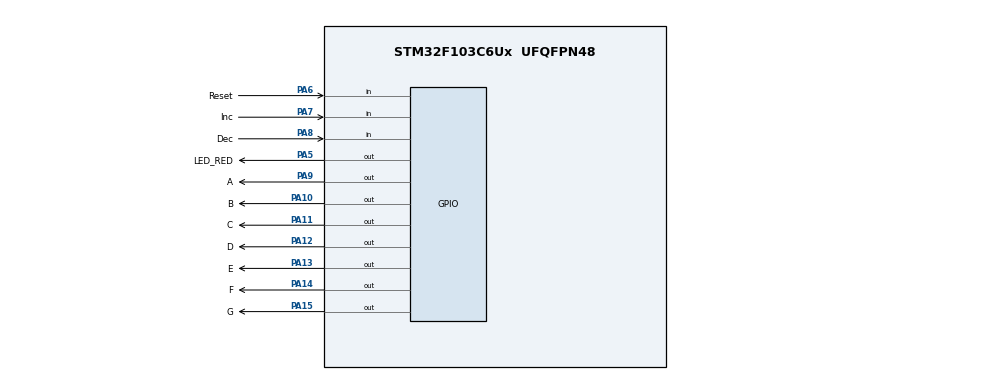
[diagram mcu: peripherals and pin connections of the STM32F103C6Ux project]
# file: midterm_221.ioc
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Mcu.Family=STM32F1
Mcu.Name=STM32F103C6Ux
Mcu.Package=UFQFPN48
NVIC.PriorityGroup=NVIC_PRIORITYGROUP_4
NVIC.TIM2_IRQn=true\:0\:0\:false\:false\:true\:true\:true
PA10.GPIO_Label=B
PA10.Signal=GPIO_Output
PA11.GPIO_Label=C
PA11.Signal=GPIO_Output
PA12.GPIO_Label=D
PA12.Signal=GPIO_Output
PA13.GPIO_Label=E
PA13.Signal=GPIO_Output
PA14.GPIO_Label=F
PA14.Signal=GPIO_Output
PA15.GPIO_Label=G
PA15.Signal=GPIO_Output
PA5.GPIO_Label=LED_RED
PA5.Signal=GPIO_Output
PA6.GPIO_Label=Reset
PA6.GPIO_PuPd=GPIO_PULLUP
PA6.Signal=GPIO_Input
PA7.GPIO_Label=Inc
PA7.GPIO_PuPd=GPIO_PULLUP
PA7.Signal=GPIO_Input
PA8.GPIO_Label=Dec
PA8.GPIO_PuPd=GPIO_PULLUP
PA8.Signal=GPIO_Input
PA9.GPIO_Label=A
PA9.Signal=GPIO_Output
ProjectManager.HeapSize=0x200
ProjectManager.StackSize=0x400
ProjectManager.TargetToolchain=STM32CubeIDE
RCC.APB1Freq_Value=8000000
RCC.APB2Freq_Value=8000000
TIM2.Period=9
TIM2.Prescaler=7999
VP_SYS_VS_ND.Mode=No_Debug
VP_TIM2_VS_ClockSourceINT.Mode=Internal
board=custom

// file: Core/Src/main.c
/* USER CODE BEGIN Header */
/**
  ******************************************************************************
  * @file           : main.c
  * @brief          : Main program body
  ******************************************************************************
  * @attention
  *
  * <h2><center>&copy; Copyright (c) 2022 STMicroelectronics.
  * All rights reserved.</center></h2>
  *
  * This software component is licensed by ST under BSD 3-Clause license,
  * the "License"; You may not use this file except in compliance with the
  * License. You may obtain a copy of the License at:
  *                        opensource.org/licenses/BSD-3-Clause
  *
  ******************************************************************************
  */
/* USER CODE END Header */
#include "main.h"
#include "software_timer.h"
#include "button.h"
#include "fsm_buttons_run.h"

TIM_HandleTypeDef htim2;

void SystemClock_Config(void);
static void MX_GPIO_Init(void);
static void MX_TIM2_Init(void);

int main(void)
{

  /* MCU Configuration--------------------------------------------------------*/

  /* Reset of all peripherals, Initializes the Flash interface and the Systick. */
  HAL_Init();

  /* Configure the system clock */
  SystemClock_Config();

  /* Initialize all configured peripherals */
  MX_GPIO_Init();
  MX_TIM2_Init();
  /* USER CODE BEGIN 2 */
  HAL_TIM_Base_Start_IT(&htim2);
  /* USER CODE END 2 */

  /* Infinite loop */
  /* USER CODE BEGIN WHILE */
  int counter = 0;
  setTimer1(100);
  int status = NoButtonsPressed;
  while (1)
  {
	  if(timer1_flag)
	  {
		  setTimer1(100);
		  HAL_GPIO_TogglePin(LED_RED_GPIO_Port, LED_RED_Pin);
	  }

	  if(isResetPressed())
	  {
		  HAL_GPIO_TogglePin(LED_RED_GPIO_Port, LED_RED_Pin);
		  status = ButtonRESET;
		  fsm_buttons_run(status, counter);
		  status = NoButtonsPressed;
	  }
	  else if(isIncPressed())
	  {
		  HAL_GPIO_TogglePin(LED_RED_GPIO_Port, LED_RED_Pin);
		  status = ButtonINC;
		  fsm_buttons_run(status, counter);
		  status = NoButtonsPressed;
	  }
	  else if(isDecPressed())
	  {
		  HAL_GPIO_TogglePin(LED_RED_GPIO_Port, LED_RED_Pin);
		  status = ButtonDEC;
		  fsm_buttons_run(status, counter);
		  status = NoButtonsPressed;
	  }
	  else
	  {
		  status = NoButtonsPressed;
		  fsm_buttons_run(status, counter);
	  }

	  display7SEG(counter);
	  //setTimer1(100);
    /* USER CODE END WHILE */

  }
}

void SystemClock_Config(void)
{
  RCC_OscInitTypeDef RCC_OscInitStruct = {0};
  RCC_ClkInitTypeDef RCC_ClkInitStruct = {0};

  /** Initializes the RCC Oscillators according to the specified parameters
  * in the RCC_OscInitTypeDef structure.
  */
  RCC_OscInitStruct.OscillatorType = RCC_OSCILLATORTYPE_HSI;
  RCC_OscInitStruct.HSIState = RCC_HSI_ON;
  RCC_OscInitStruct.HSICalibrationValue = RCC_HSICALIBRATION_DEFAULT;
  RCC_OscInitStruct.PLL.PLLState = RCC_PLL_NONE;
  if (HAL_RCC_OscConfig(&RCC_OscInitStruct) != HAL_OK)
  {
    Error_Handler();
  }
  /** Initializes the CPU, AHB and APB buses clocks
  */
  RCC_ClkInitStruct.ClockType = RCC_CLOCKTYPE_HCLK|RCC_CLOCKTYPE_SYSCLK
                              |RCC_CLOCKTYPE_PCLK1|RCC_CLOCKTYPE_PCLK2;
  RCC_ClkInitStruct.SYSCLKSource = RCC_SYSCLKSOURCE_HSI;
  RCC_ClkInitStruct.AHBCLKDivider = RCC_SYSCLK_DIV1;
  RCC_ClkInitStruct.APB1CLKDivider = RCC_HCLK_DIV1;
  RCC_ClkInitStruct.APB2CLKDivider = RCC_HCLK_DIV1;

  if (HAL_RCC_ClockConfig(&RCC_ClkInitStruct, FLASH_LATENCY_0) != HAL_OK)
  {
    Error_Handler();
  }
}

static void MX_TIM2_Init(void)
{

  TIM_ClockConfigTypeDef sClockSourceConfig = {0};
  TIM_MasterConfigTypeDef sMasterConfig = {0};

  htim2.Instance = TIM2;
  htim2.Init.Prescaler = 7999;
  htim2.Init.CounterMode = TIM_COUNTERMODE_UP;
  htim2.Init.Period = 9;
  htim2.Init.ClockDivision = TIM_CLOCKDIVISION_DIV1;
  htim2.Init.AutoReloadPreload = TIM_AUTORELOAD_PRELOAD_DISABLE;
  if (HAL_TIM_Base_Init(&htim2) != HAL_OK)
  {
    Error_Handler();
  }
  sClockSourceConfig.ClockSource = TIM_CLOCKSOURCE_INTERNAL;
  if (HAL_TIM_ConfigClockSource(&htim2, &sClockSourceConfig) != HAL_OK)
  {
    Error_Handler();
  }
  sMasterConfig.MasterOutputTrigger = TIM_TRGO_RESET;
  sMasterConfig.MasterSlaveMode = TIM_MASTERSLAVEMODE_DISABLE;
  if (HAL_TIMEx_MasterConfigSynchronization(&htim2, &sMasterConfig) != HAL_OK)
  {
    Error_Handler();
  }

}

static void MX_GPIO_Init(void)
{
  GPIO_InitTypeDef GPIO_InitStruct = {0};

  /* GPIO Ports Clock Enable */
  __HAL_RCC_GPIOA_CLK_ENABLE();

  /*Configure GPIO pin Output Level */
  HAL_GPIO_WritePin(GPIOA, LED_RED_Pin|A_Pin|B_Pin|C_Pin
                          |D_Pin|E_Pin|F_Pin|G_Pin, GPIO_PIN_RESET);

  /*Configure GPIO pins : LED_RED_Pin A_Pin B_Pin C_Pin
                           D_Pin E_Pin F_Pin G_Pin */
  GPIO_InitStruct.Pin = LED_RED_Pin|A_Pin|B_Pin|C_Pin
                          |D_Pin|E_Pin|F_Pin|G_Pin;
  GPIO_InitStruct.Mode = GPIO_MODE_OUTPUT_PP;
  GPIO_InitStruct.Pull = GPIO_NOPULL;
  GPIO_InitStruct.Speed = GPIO_SPEED_FREQ_LOW;
  HAL_GPIO_Init(GPIOA, &GPIO_InitStruct);

  /*Configure GPIO pins : Reset_Pin Inc_Pin Dec_Pin */
  GPIO_InitStruct.Pin = Reset_Pin|Inc_Pin|Dec_Pin;
  GPIO_InitStruct.Mode = GPIO_MODE_INPUT;
  GPIO_InitStruct.Pull = GPIO_PULLUP;
  HAL_GPIO_Init(GPIOA, &GPIO_InitStruct);

}

/* USER CODE BEGIN 4 */
void HAL_TIM_PeriodElapsedCallback(TIM_HandleTypeDef *htim){
	timerRun();
	getResetKeyInput();
	getIncKeyInput();
	getResetKeyInput();
	//getKeyInput();
}
/* USER CODE END 4 */

void Error_Handler(void)
{
  __disable_irq();
  while (1)
  {
  }
}

/************************ (C) COPYRIGHT STMicroelectronics *****END OF FILE****/
